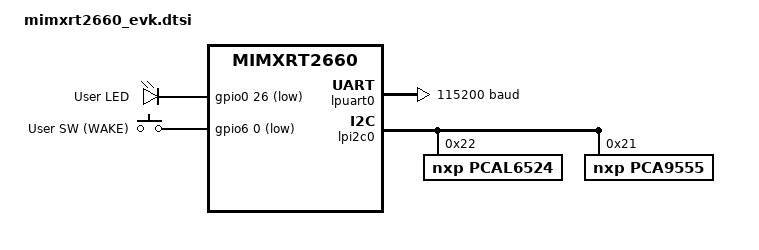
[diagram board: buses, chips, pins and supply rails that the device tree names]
/*
 * SPDX-FileCopyrightText: Copyright 2026 NXP
 *
 * SPDX-License-Identifier: Apache-2.0
 */

#include "mimxrt2660_evk-pinctrl.dtsi"
#include <zephyr/dt-bindings/input/input-event-codes.h>

/ {
	aliases {
		led0 = &user_led;
		sw0 = &user_button;
	};

	leds {
		compatible = "gpio-leds";

		user_led: led_0 {
			/*
			 * USER_LED (D16), ball PIO2_26 -> HSP gpio0 pin 26.
			 * Driven through series R329 and transistor Q6, so it
			 * is active low.
			 */
			gpios = <&gpio0 26 GPIO_ACTIVE_LOW>;
			label = "User LED";
		};
	};

	gpio_keys {
		compatible = "gpio-keys";

		user_button: button_0 {
			/*
			 * WAKE_SS_BTN, ball PIO1_0 -> gpio6 pin 0. SW6 shorts the
			 * net to ground, so it is active low. The 3V3 pull-up R49
			 * is DNP on this revision, which makes the internal pull-up
			 * required rather than optional.
			 */
			label = "User SW (WAKE)";
			gpios = <&gpio6 0 (GPIO_ACTIVE_LOW | GPIO_PULL_UP)>;
			zephyr,code = <INPUT_KEY_0>;
		};
	};
};

&lpuart0 {
	current-speed = <115200>;
	pinctrl-0 = <&pinmux_lpuart0>;
	pinctrl-names = "default";
};

&lpi2c0 {
	pinctrl-0 = <&pinmux_lpi2c0>;
	pinctrl-names = "default";

	/* PCAL6524 (0x22): LCM_RGB_5INCH panel power-enable on pin 16. */
	pcal6524: gpio@22 {
		compatible = "nxp,pcal6524";
		reg = <0x22>;
		gpio-controller;
		#gpio-cells = <2>;
		ngpios = <24>;
	};

	/* PCA9555 (0x21): LCM_RGB_5INCH panel backlight-enable on pin 9. */
	pca9555: gpio@21 {
		compatible = "nxp,pca9555";
		reg = <0x21>;
		gpio-controller;
		#gpio-cells = <2>;
		ngpios = <16>;
	};
};

&dcif {
	pinctrl-0 = <&pinmux_dcif>;
	pinctrl-names = "default";
};
